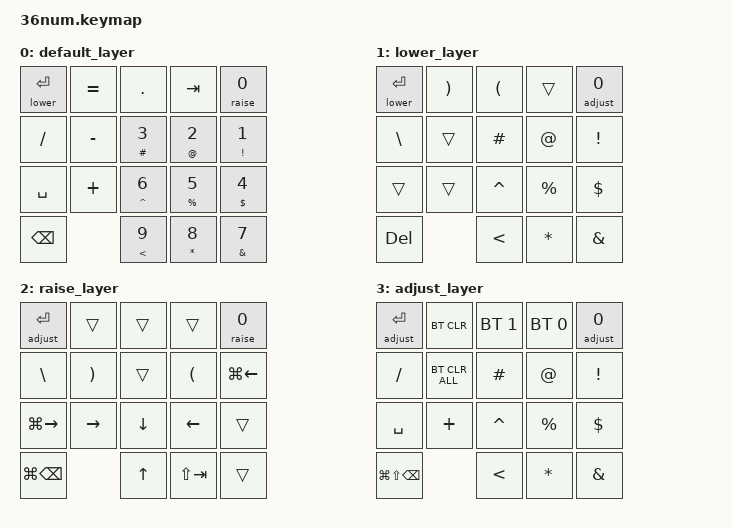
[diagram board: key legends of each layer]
/*
 * Copyright (c) 2020 The ZMK Contributors
 *;
 * SPDX-License-Identifier: MIT


west build -d build/36num -p -b xiao_ble//zmk -- -DSHIELD=36num

docker cp zealous_pasteur:/workspaces/zmk/app/build/36num/zephyr/zmk.uf2 "/Users/song100/Library/Mobile Documents/com~apple~CloudDocs/Keyboard/36firmware/36num.uf2"


 */

#include <behaviors.dtsi>
#include <dt-bindings/zmk/keys.h>
#include <dt-bindings/zmk/bt.h>
#include <dt-bindings/zmk/outputs.h>
// #include <dt-bindings/zmk/mouse.h>
#include <dt-bindings/zmk/pointing.h>

#define base 0
#define lower 1
#define raise 2
#define adjust 3

&mt {
    tapping-term-ms = <200>;
    flavor = "hold-preferred";
};

&lt {
    tapping-term-ms = <200>;
    flavor = "hold-preferred";
};


/{ // <---[[root node]]    
    macros {
        R_1W: R_1W {
            label = "R_1W";
            compatible = "zmk,behavior-macro";
            #binding-cells = <0>;
            wait-ms = <0>;
            tap-ms = <0>;
            bindings
                = <&macro_press &kp LSHFT>
                , <&macro_tap &kp S>
                , <&macro_release &kp LSHFT>
                , <&macro_tap &kp H &kp A &kp W &kp U &kp A &kp J &kp Y &kp D &kp S &kp N>
                ;
        };
        Grader1: GRDR1 {
            label = "GRDR1";
            compatible = "zmk,behavior-macro";
            #binding-cells = <0>;
            wait-ms = <40>;
            tap-ms = <40>;
            bindings
                = <&macro_tap &kp B &kp TAB &kp TAB
                &kp 3 &kp TAB &kp TAB
                &kp 3 &kp TAB &kp TAB
                &kp 3 &kp TAB &kp TAB
                &kp 3 &kp TAB &kp TAB
                &kp 3 &kp TAB &kp TAB
                &kp 3 &kp TAB &kp TAB
                &kp 3 &kp TAB &kp TAB
                &kp 3 &kp TAB &kp TAB
                &kp 3 &kp TAB &kp TAB &kp TAB
                &kp SPACE
                >
                ;
        };
        textit: textit {
            label = "textit";
            compatible = "zmk,behavior-macro";
            #binding-cells = <0>;
            wait-ms = <20>;
            tap-ms = <10>;
            bindings
                = <&macro_tap 
                &kp LBRC &kp LEFT &kp LEFT
                &kp BSLH &kp F &kp K &kp X &kp F &kp L &kp F>
                ,<&macro_press &kp LALT>
                ,<&macro_tap &kp RIGHT &kp RIGHT>
                ,<&macro_release &kp LALT>
                ;
        };
        textbf: textbf {
            label = "textbf";
            compatible = "zmk,behavior-macro";
            #binding-cells = <0>;
            wait-ms = <20>;
            tap-ms = <10>;
            bindings
                = <&macro_tap 
                &kp LBRC &kp LEFT &kp LEFT
                &kp BSLH &kp F &kp K &kp X &kp F &kp B &kp E>
                ,<&macro_press 
                &kp LALT>
                ,<&macro_tap 
                &kp RIGHT &kp RIGHT>
                ,<&macro_release 
                &kp LALT>
                ;
        };
        LR_PAR: LR_PAR {
            label = "LR_PAR";
            compatible = "zmk,behavior-macro";
            #binding-cells = <0>;
            wait-ms = <40>;
            tap-ms = <40>;
            bindings
                = <&macro_press &kp LSHFT>
                , <&macro_tap &kp N9 &kp N0>
                , <&macro_release &kp LSHFT>
                , <&macro_tap &kp LEFT>
                ;
        };
        lmrgui: lmrgui {
            label = "lmrgui";
            compatible = "zmk,behavior-macro";
            wait-ms = <0>;
            tap-ms = <0>;
            #binding-cells = <0>;
            bindings
                = <&macro_press &mo lower &kp RGUI>
                , <&macro_pause_for_release>
                , <&macro_release &mo lower &kp RGUI>
                ;
        };
        // mousecombo: mousecombo {
        //     label = "mousecombo";
        //     compatible = "zmk,behavior-macro";
        //     wait-ms = <0>;
        //     tap-ms = <0>;
        //     #binding-cells = <0>;
        //     bindings
        //         = <&macro_press &kp LGUI &kp LSHFT> 
        //         , <&macro_tap &kp SPACE>
        //         , <&macro_release &kp LGUI &kp LSHFT>
        //         , <&macro_press &mo mouse>
        //         , <&macro_pause_for_release>
        //         , <&macro_release &mo mouse>
        //         ;
        // };
        parencite: parencite {
            label = "parencite";
            compatible = "zmk,behavior-macro";
            #binding-cells = <0>;
            wait-ms = <10>;
            tap-ms = <20>;
            bindings
                = <&macro_tap &kp BSLH &kp R &kp A &kp S &kp K &kp J &kp C &kp L &kp F &kp K>
                , <&macro_tap &kp LBKT &kp RBKT  &kp LBRC &kp RBRC &kp LEFT &kp LEFT &kp LBKT &kp RBKT &kp RIGHT &kp RIGHT>
                ;
        };
        // \(\beta\)
        beta: beta {
            label = "beta";
            compatible = "zmk,behavior-macro";
            #binding-cells = <0>;
            wait-ms = <10>;
            tap-ms = <30>;
            bindings
                = <&macro_tap &kp BSLH &kp LPAR &kp BSLH &kp B &kp K &kp J &kp A &kp BSLH &kp RPAR>
                ;
        };
        // ($R^2_{adj}$
        radjsq: radjsq {
            label = "radjsq";
            compatible = "zmk,behavior-macro";
            #binding-cells = <0>;
            wait-ms = <10>;
            tap-ms = <30>;
            bindings
                = <&macro_tap &kp LPAR &kp DLLR>
                , <&macro_press &kp RSHFT> 
                , <&kp S>
                , <&macro_release &kp RSHFT>
                , <&kp AMPS &kp UNDER &kp LBRC &kp A &kp G &kp Y &kp RBRC &kp DLLR>
                ;
        topthirds: topthirds {
            label = "topthirds";
            compatible = "zmk,behavior-macro";
            #binding-cells = <0>;
            wait-ms = <10>;
            tap-ms = <30>;
            bindings
                = <&macro_press &kp LSHFT>
                , <&macro_press &kp LCTL>
                , <&macro_press &kp LALT>
                , <&macro_press &kp LGUI>
                , <&macro_tap &kp N8 &kp F4>
                , <&macro_release &kp LSHFT>
                , <&macro_release &kp LCTL>
                , <&macro_release &kp LALT>
                , <&macro_release &kp LGUI>
                ;
        botthirds: botthirds {
            label = "botthirds";
            compatible = "zmk,behavior-macro";
            #binding-cells = <0>;
            wait-ms = <10>;
            tap-ms = <30>;
            bindings
                = <&macro_press &kp LSHFT>
                , <&macro_press &kp LCTL>
                , <&macro_press &kp LALT>
                , <&macro_press &kp LGUI>
                , <&macro_tap &kp N5 &kp F6>
                , <&macro_release &kp LSHFT>
                , <&macro_release &kp LCTL>
                , <&macro_release &kp LALT>
                , <&macro_release &kp LGUI>
                ;
        };
        centerthirds: centerthirds {
            label = "centerthirds";
            compatible = "zmk,behavior-macro";
            #binding-cells = <0>;
            wait-ms = <10>;
            tap-ms = <30>;
            bindings
                = <&macro_press &kp LSHFT>
                , <&macro_press &kp LCTL>
                , <&macro_press &kp LALT>
                , <&macro_press &kp LGUI>
                , <&macro_tap &kp N2 &kp F5>
                , <&macro_release &kp LSHFT>
                , <&macro_release &kp LCTL>
                , <&macro_release &kp LALT>
                , <&macro_release &kp LGUI>
                ;
        };
        // leftthirds: leftthirds {
        //     label = "leftthirds";
        //     compatible = "zmk,behavior-macro";
        //     #binding-cells = <0>;
        //     wait-ms = <10>;
        //     tap-ms = <30>;
        //     bindings
        //         = <&macro_press &kp LSHFT>
        //         , <&macro_press &kp LCTL>
        //         , <&macro_press &kp LALT>
        //         , <&macro_press &kp LGUI>
        //         , <&macro_tap &kp N1 &kp M>
        //         , <&macro_release &kp LSHFT>
        //         , <&macro_release &kp LCTL>
        //         , <&macro_release &kp LALT>
        //         , <&macro_release &kp LGUI>
        //         ;
        // };
        // rightthirds: rightthirds {
        //     label = "rightthirds";
        //     compatible = "zmk,behavior-macro";
        //     #binding-cells = <0>;
        //     wait-ms = <10>;
        //     tap-ms = <30>;
        //     bindings
        //         = <&macro_press &kp LSHFT>
        //         , <&macro_press &kp LCTL>
        //         , <&macro_press &kp LALT>
        //         , <&macro_press &kp LGUI>
        //         , <&macro_tap &kp N3 &kp M>
        //         , <&macro_release &kp LSHFT>
        //         , <&macro_release &kp LCTL>
        //         , <&macro_release &kp LALT>
        //         , <&macro_release &kp LGUI>
        //         ;
        // };
    };
    };
    behaviors {
        gresc: grave_escape {
            compatible = "zmk,behavior-mod-morph";
            #binding-cells = <0>;
            bindings = <&kp ESC>, <&kp GRAVE>;
            mods = <(MOD_RGUI|MOD_LSFT|MOD_LALT|MOD_LCTL)>;
        };
        // mnl: mouse_n_language {
        //     compatible = "zmk,behavior-hold-tap";
        //     label = "MOUSE_MODS";
        //     #binding-cells = <2>;
        //     tapping-term-ms = <350>;
        //     quick-tap-ms = <0>;
        //     flavor = "tap-preferred";
        //     bindings = <&mo>, <&kp>;
        // };
        bhm: balanced_homerow_mods {
            compatible = "zmk,behavior-hold-tap";
            label = "HOMEROW_MODS";
            #binding-cells = <2>;
            tapping-term-ms = <250>;    // <---[[moderate duration]]
            quick-tap-ms = <0>;
            flavor = "balanced";
            bindings = <&kp>, <&kp>;
        };
        tns: tap_number_symbols {
            compatible = "zmk,behavior-hold-tap";
            label = "NUM_SYMBOLS";
            #binding-cells = <2>;
            tapping-term-ms = <250>;    // <---[[moderate duration]]
            quick-tap-ms = <0>;
            flavor = "tap-preferred";
            bindings = <&kp>, <&kp>;
        };//the following two go together
        comlpar: comma_parenthesis {
            compatible = "zmk,behavior-mod-morph";
            label = "COMMA_LPARENTH";
            #binding-cells = <0>;
            bindings = <&kp COMMA>, <&kp LPAR>;
            mods = <(MOD_RSFT)>;
        };
        dotrpar: dot_parenthesis {
            compatible = "zmk,behavior-mod-morph";
            label = "DOT_RPARENTH";
            #binding-cells = <0>;
            bindings = <&kp DOT>, <&kp RPAR>;
            mods = <(MOD_RSFT)>;
        };//the following two go together        
        comlrpar: comma_parentheses {
            compatible = "zmk,behavior-mod-morph";
            label = "COMMA_BOTHPARENTH";
            #binding-cells = <0>;
            bindings = <&kp COMMA>, <&LR_PAR>;
            mods = <(MOD_RSFT)>;
        };
        dotqmark: dot_qmark {
            compatible = "zmk,behavior-mod-morph";
            label = "DOT_QMARK";
            #binding-cells = <0>;
            bindings = <&kp DOT>, <&kp QMARK>;
            mods = <(MOD_RSFT)>;
        };
        qtab: q_cmdandtab {
            compatible = "zmk,behavior-mod-morph";
            label = "Q_CMDANDTAB";
            #binding-cells = <0>;
            bindings = <&kp Q>, <&kp LG(TAB)>;
            mods = <(MOD_LGUI)>;
        };
        tabgui: tabandgui {
            compatible = "zmk,behavior-hold-tap";
            label = "TAB_GUI";
            #binding-cells = <2>;
            flavor = "hold-preferred";
            tapping-term-ms = <200>;
            quick-tap-ms = <125>;
            global-quick-tap;
            bindings = <&lmrgui>, <&kp>;
        };
        // dmousecombo: dmousecombo {
        //     compatible = "zmk,behavior-hold-tap";
        //     label = "D_MCOMBO";
        //     #binding-cells = <2>;
        //     flavor = "tap-preferred";
        //     tapping-term-ms = <200>;
        //     quick-tap-ms = <125>;
        //     global-quick-tap;
        //     bindings = <&mousecombo>, <&kp>;
        // };
        copypaste: copypaste {
            compatible = "zmk,behavior-tap-dance";
            #binding-cells = <0>;
            tapping-term-ms = <200>;
            bindings = <&kp LG(C)>, <&kp LG(V)>, <&kp LG(V)>;
        };
        // td_mt_bspc: tap_dance_layer_tap {
        //     compatible = "zmk,behavior-tap-dance";
        //     #binding-cells = <0>;
        //     tapping-term-ms = <150>;
        //     bindings = <&lt lower BSPC>, <&kp BSPC>;
        // };
        // td_mtt_spc: tap_dance_layer_tap {
        //     compatible = "zmk,behavior-tap-dance";
        //     #binding-cells = <0>;
        //     tapping-term-ms = <150>;
        //     bindings = <&mt LSHFT SPACE>, <&kp SPACE>;
        // };
        qlt: quick_layer_tap {
            compatible = "zmk,behavior-hold-tap";
            #binding-cells = <2>;
            tapping-term-ms = <200>;
            quick-tap-ms = <200>;
            flavor = "hold-preferred";
            bindings = <&mo>, <&kp>;
        };
        qmt: quick_mod_tap {
            compatible = "zmk,behavior-hold-tap";
            #binding-cells = <2>;
            tapping-term-ms = <200>;
            quick-tap-ms = <200>;
            flavor = "hold-preferred";
            bindings = <&kp>, <&kp>;
        };
        wintop: window_top {
            compatible = "zmk,behavior-tap-dance";
            #binding-cells = <0>;
            tapping-term-ms = <150>;
            bindings = <&kp LC(LA(UP))>, <&kp BSPC>;
        };
        scroll_up_down: behavior_sensor_rotate_mouse_wheel_up_down {
	        compatible = "zmk,behavior-sensor-rotate";
	        #sensor-binding-cells = <0>;
            bindings = <&msc SCRL_DOWN>, <&msc SCRL_UP>;
            tap-ms = <20>;
        };
        scroll_l_r: behavior_sensor_rotate_mouse_wheel_left_right {
	        compatible = "zmk,behavior-sensor-rotate";
	        #sensor-binding-cells = <0>;
            bindings = <&msc SCRL_RIGHT>, <&msc SCRL_LEFT>;
            tap-ms = <20>;
        };
        homef12: homef12 {
            compatible = "zmk,behavior-tap-dance";
            #binding-cells = <0>;
            tapping-term-ms = <200>;
            bindings = <&kp ESC>, <&kp HOME>, <&kp F12>;
        };
        lefttop: lefttop {
            compatible = "zmk,behavior-tap-dance";
            #binding-cells = <0>;
            tapping-term-ms = <200>;
            bindings = <&kp LC(LA(LG(PG_UP)))>, <&kp LS(LC(LA(LG(N7))))>;
        };
        righttop: righttop {
            compatible = "zmk,behavior-tap-dance";
            #binding-cells = <0>;
            tapping-term-ms = <200>;
            bindings = <&kp LC(LA(LG(HOME)))>, <&kp LS(LC(LA(LG(N9))))>;
        };
        leftbot: leftbot {
            compatible = "zmk,behavior-tap-dance";
            #binding-cells = <0>;
            tapping-term-ms = <200>;
            bindings = <&kp LC(LA(LG(PG_DN)))>, <&kp LS(LC(LA(LG(N4))))>;
        };
        rightbot: rightbot {
            compatible = "zmk,behavior-tap-dance";
            #binding-cells = <0>;
            tapping-term-ms = <200>;
            bindings = <&kp LC(LA(LG(END)))>, <&kp LS(LC(LA(LG(N6))))>;
        };
        toptop: toptop {
            compatible = "zmk,behavior-tap-dance";
            #binding-cells = <0>;
            tapping-term-ms = <200>;
            bindings = <&kp LC(LA(UP))>, <&topthirds>, <&kp LS(LC(LA(LG(F7))))>;
        };
        botbot: botbot {
            compatible = "zmk,behavior-tap-dance";
            #binding-cells = <0>;
            tapping-term-ms = <200>;
            bindings = <&kp LC(LA(DOWN))>, <&botthirds>, <&kp LS(LC(LA(LG(F9))))>;
        };
        leftleft: leftleft {
            compatible = "zmk,behavior-tap-dance";
            #binding-cells = <0>;
            tapping-term-ms = <200>;
            bindings = <&kp LC(LA(LEFT))>, <&kp LS(LC(LA(LG(N1))))>,  <&kp LS(LC(LA(LG(F1))))>;
        };
        rightright: rightright {
            compatible = "zmk,behavior-tap-dance";
            #binding-cells = <0>;
            tapping-term-ms = <200>;
            bindings = <&kp LC(LA(RIGHT))>, <&kp LS(LC(LA(LG(N3))))>, <&kp LS(LC(LA(LG(F2))))>;
        };
        centercenter: centercenter {
            compatible = "zmk,behavior-tap-dance";
            #binding-cells = <0>;
            tapping-term-ms = <200>;
            bindings = <&kp LC(LA(RET))>, <&centerthirds>;
        };
};

    combos {
        compatible = "zmk,combos";
        // combo_MB1L {
        //     timeout-ms = <50>;
        //     key-positions = <4 14>;
        //     bindings = <&mkp MB1>;
        // };
        // combo_MB2R {
        //     timeout-ms = <50>;
        //     key-positions = <5 15>;
        //     bindings = <&mkp MB2>;
        // };
        // combo_MB2R {
        //     timeout-ms = <50>;
        //     key-positions = <6 16>;
        //     bindings = <&mkp MB2>;
        // };
        // combo_MB1L {
        //     timeout-ms = <50>;
        //     key-positions = <4 14>;
        //     bindings = <&mkp MB1>;
        // };
        combo_MB1L_1 {
            timeout-ms = <50>;
            key-positions = <3 13>;
            bindings = <&mkp MB1>;
        };
        combo_SCROLLDN {
            timeout-ms = <50>;
            key-positions = <11 21>;
            bindings = <&msc SCRL_DOWN>;
        };
        combo_SCROLLUP {
            timeout-ms = <50>;
            key-positions = <1 11>;
            bindings = <&msc SCRL_UP>;
        };
        combo_SCROLLLEFT {
            timeout-ms = <50>;
            key-positions = <10 11>;
            bindings = <&msc SCRL_LEFT>;
        };
        combo_SCROLLRIGHT {
            timeout-ms = <50>;
            // key-positions = <4 14>;
            key-positions = <11 12>;
            bindings = <&msc SCRL_RIGHT>;
        };
        combo_BACK {
            timeout-ms = <50>;
            key-positions = <10 20>;
            bindings = <&kp LG(LBKT)>;
        };
        // combo_T {
        //     timeout-ms = <50>;
        //     key-positions = <2 3>;
        //     bindings = <&kp T>;
        // };
        // combo_G {
        //     timeout-ms = <50>;
        //     key-positions = <12 13>;
        //     bindings = <&kp G>;
        // };
        // combo_B {
        //     timeout-ms = <50>;
        //     key-positions = <22 23>;
        //     bindings = <&kp B>;
        // };
        // combo_Y {
        //     timeout-ms = <50>;
        //     key-positions = <6 7>;
        //     bindings = <&kp Y>;
        // };
        // combo_H {
        //     timeout-ms = <50>;
        //     key-positions = <16 17>;
        //     bindings = <&kp H>;
        // };
        // combo_N {
        //     timeout-ms = <50>;
        //     key-positions = <26 27>;
        //     bindings = <&kp N>;
        // };
        // combo_MB2R {
        //     timeout-ms = <50>;
        //     key-positions = <7 17>;fsfs
        //     bindings = <&mkp MB2>;
        // };
        // combo_LGLSSPACEL {
        //     timeout-ms = <50>;
        //     key-positions = <13 14>;
        //     bindings = <&kp LG(LS(SPACE))>;
        // };
        // combo_LGLSSPACER {
        //     timeout-ms = <50>;
        //     key-positions = <15 16>;
        //     bindings = <&kp LG(LS(SPACE))>;
        // };
    };
};
    keymap {
        compatible = "zmk,keymap";

        default_layer {
            bindings = <    
    &qlt lower RET &kp EQUAL &kp DOT       &kp TAB       &qlt raise N0 
    &kp FSLH       &kp MINUS &tns POUND N3 &tns AT N2    &tns EXCL N1
    &kp SPACE      &kp PLUS  &tns CARET N6 &tns PRCNT N5 &tns DLLR N4
    &kp BSPC                 &tns LT N9    &tns ASTRK N8 &tns AMPS N7 
                >;
        };
        lower_layer {
            bindings = <
    &qlt lower RET &kp RPAR  &kp LPAR  &trans    &qlt adjust N0
    &kp BSLH         &trans    &kp POUND &kp AT    &kp EXCL
    &trans         &trans    &kp CARET &kp PRCNT &kp DLLR
    &kp DEL                   &kp LT    &kp ASTRK &kp AMPS
                >;
        };
        raise_layer {
            bindings = <
    &qlt adjust RET &trans    &trans    &trans        &qlt raise N0
    &kp BSLH        &kp RPAR  &trans    &kp LPAR      &kp LG(LEFT)
    &kp LG(RIGHT)   &kp RIGHT &kp DOWN  &kp LEFT      &trans
    &kp LG(BSPC)              &kp UP    &kp LS(TAB)   &trans
                >;
        };
        adjust_layer {
            bindings = <
    &qlt adjust RET &bt BT_CLR     &bt BT_SEL 1       &bt BT_SEL 0       &qlt adjust N0 
    &kp FSLH        &bt BT_CLR_ALL &kp POUND &kp AT    &kp EXCL
    &kp SPACE       &kp PLUS       &kp CARET &kp PRCNT &kp DLLR
    &kp LG(LS(BSPC))                       &kp LT    &kp ASTRK &kp AMPS
                >;
        };
    };
};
